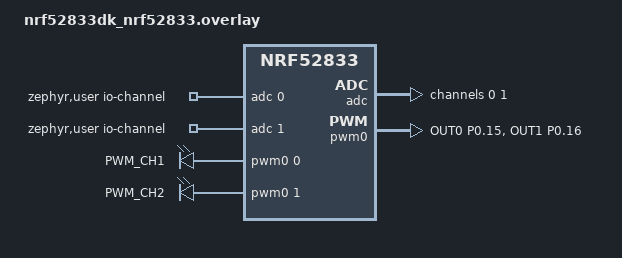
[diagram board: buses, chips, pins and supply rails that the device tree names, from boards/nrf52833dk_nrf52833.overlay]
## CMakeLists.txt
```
# SPDX-License-Identifier: Apache-2.0

cmake_minimum_required(VERSION 3.20.0)
find_package(Zephyr REQUIRED HINTS $ENV{ZEPHYR_BASE})
project(zephyr-adc-pwm-lab)

# make sure to add the source code for new libraries
target_sources(app PRIVATE src/main.c src/calc_cycles.c)
```

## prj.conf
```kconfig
CONFIG_LOG=y
CONFIG_ADC=y
CONFIG_PWM=y
CONFIG_SMF=y
CONFIG_EVENTS=y
CONFIG_LOG_MODE_DEFERRED=y
CONFIG_MAIN_STACK_SIZE=4096
CONFIG_LOG_BUFFER_SIZE=2048
```

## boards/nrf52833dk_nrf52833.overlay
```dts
/ {
    zephyr,user {
        io-channels = <&adc 0>, <&adc 1>;
    };
    aliases {
        sw0 = &button0;
        sw1 = &button1;
        sw2 = &button2;
        led0 = &led0;
        led1 = &led1;
        vadc = &vadc;
        vadc-diff = &vadc_diff;
        pwm1 = &pwmch1;
        pwm2 = &pwmch2;
    };
    pwm {
        compatible = "pwm-leds";
        pwmch1: pwm_1 {
            pwms = < &pwm0 0 PWM_MSEC(1) PWM_POLARITY_NORMAL>;  // 0 - channel
            label = "PWM_CH1";
        };
        pwmch2: pwm_2 {
            pwms = < &pwm0 1 PWM_MSEC(1) PWM_POLARITY_NORMAL>; // 1 - channel
            label = "PWM_CH2";
        };
    };
};

&adc {
    #address-cells = <1>;
    #size-cells = <0>;
    vadc: channel@0 {
        reg = <0>;
        zephyr,reference = "ADC_REF_INTERNAL";
        zephyr,gain = "ADC_GAIN_1_5";
        zephyr,acquisition-time = <ADC_ACQ_TIME_DEFAULT>;
        zephyr,input-positive = <NRF_SAADC_AIN0>;
        zephyr,resolution = <12>;
    };
    vadc_diff: channel@1 {
        reg = <1>;
        zephyr,reference = "ADC_REF_INTERNAL";
        zephyr,gain = "ADC_GAIN_1_5";
        zephyr,acquisition-time = <ADC_ACQ_TIME(ADC_ACQ_TIME_MICROSECONDS, 40)>;
        zephyr,input-positive = <NRF_SAADC_AIN1>;
        zephyr,input-negative = <NRF_SAADC_AIN2>;
        zephyr,resolution = <12>;
    };
    status = "okay";
};

&pwm0 {
    compatible = "nordic,nrf-pwm";
    reg = <0x4001c000 0x1000>;
    interrupts = <28 NRF_DEFAULT_IRQ_PRIORITY>;
    status = "okay";
    #pwm-cells = <3>;
    pinctrl-0 = <&pwm0_default>;
    pinctrl-1 = <&pwm0_sleep>;
    pinctrl-names = "default", "sleep";
};

&pinctrl {
    compatible = "nordic,nrf-pinctrl";
    status = "okay";
    pwm0_default: pwm0_default {
        group1 {
            psels = <NRF_PSEL(PWM_OUT0, 0, 15)>,
                    <NRF_PSEL(PWM_OUT1, 0, 16)>;
            nordic,invert;
        };
    };
    pwm0_sleep: pwm0_sleep {
        group1 {
            psels = <NRF_PSEL(PWM_OUT0, 0, 15)>,
                    <NRF_PSEL(PWM_OUT1, 0, 16)>;
            low-power-enable;
        };
    };
};
```

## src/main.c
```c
#include <zephyr/kernel.h>
#include <zephyr/device.h>
#include <zephyr/devicetree.h>
#include <zephyr/drivers/gpio.h>
#include <zephyr/logging/log.h>
#include <zephyr/drivers/adc.h>
#include <zephyr/drivers/pwm.h>
#include <zephyr/smf.h>

#include "calc_cycles.h"

LOG_MODULE_REGISTER(main, LOG_LEVEL_INF);

// Constants
#define HEARTBEAT_PERIOD_MS 1000
#define HEARTBEAT_DUTY_CYCLE 25
#define HEARTBEAT_ON_TIME (HEARTBEAT_PERIOD_MS * HEARTBEAT_DUTY_CYCLE / 100)
#define HEARTBEAT_OFF_TIME (HEARTBEAT_PERIOD_MS - HEARTBEAT_ON_TIME)
#define LED_BLINK_DURATION_MS 5000
#define LED_DUTY_CYCLE 10
#define SAMPLING_DURATION_US 2000000
#define INTERVAL_US 5000
#define DIFF_SAMPLES (SAMPLING_DURATION_US / INTERVAL_US)

// GPIO PWM ADC Specifications
static const struct gpio_dt_spec led0_spec = GPIO_DT_SPEC_GET(DT_ALIAS(led0), gpios);
static const struct gpio_dt_spec led1_spec = GPIO_DT_SPEC_GET(DT_ALIAS(led1), gpios);
static const struct gpio_dt_spec button0_spec = GPIO_DT_SPEC_GET(DT_ALIAS(sw0), gpios);
static const struct gpio_dt_spec button1_spec = GPIO_DT_SPEC_GET(DT_ALIAS(sw1), gpios);
static const struct gpio_dt_spec button2_spec = GPIO_DT_SPEC_GET(DT_ALIAS(sw2), gpios);
static const struct pwm_dt_spec led2_pwm_spec = PWM_DT_SPEC_GET(DT_ALIAS(pwm1));
static const struct pwm_dt_spec led3_pwm_spec = PWM_DT_SPEC_GET(DT_ALIAS(pwm2));
static struct gpio_callback button0_cb;
static struct gpio_callback button1_cb;
static struct gpio_callback button2_cb;

static const struct adc_dt_spec adc_vadc_spec = ADC_DT_SPEC_GET_BY_IDX(DT_PATH(zephyr_user), 0);
static const struct adc_dt_spec adc_vadc_diff_spec = ADC_DT_SPEC_GET_BY_IDX(DT_PATH(zephyr_user), 1);

// Function Prototypes
void heartbeat_thread(void *a, void *b, void *c);
void blink_handler(struct k_timer *timer);
void init_run(void *o);
void idle_run(void *o);
void adc_read_run(void *o);
void diff_adc_read_run(void *o);
void diff_process_run(void *o);
void blinking_entry(void *o);
void blinking_run(void *o);
void sinusoidal_modulation_run(void *o);
void button0_callback(const struct device *dev, struct gpio_callback *cb, uint32_t pins);
void button1_callback(const struct device *dev, struct gpio_callback *cb, uint32_t pins);
void button2_callback(const struct device *dev, struct gpio_callback *cb, uint32_t pins);
void blink_duration_handler(struct k_timer *timer);
void led_on_handler(struct k_timer *timer);
void led_off_handler(struct k_timer *timer);

// System Context
struct system_context {
    struct smf_ctx ctx;
    bool button0_pressed;
    bool button1_pressed;
    bool modulation_active;
    int32_t adc_voltage_mv;
    uint32_t led1_blink_period_ms;
    int16_t diff_buffer[DIFF_SAMPLES];
    int32_t diff_cycles;
} system_context;

// State Machine
enum state { INIT, IDLE, ADC_READ, DIFF_ADC_READ, DIFF_PROCESS, BLINKING, SINUSOIDAL_MODULATION };
static const struct smf_state states[] = {
    [INIT] = SMF_CREATE_STATE(NULL, init_run, NULL, NULL, NULL),
    [IDLE] = SMF_CREATE_STATE(NULL, idle_run, NULL, NULL, NULL),
    [ADC_READ] = SMF_CREATE_STATE(NULL, adc_read_run, NULL, NULL, NULL),
    [DIFF_ADC_READ] = SMF_CREATE_STATE(NULL, diff_adc_read_run, NULL, NULL, NULL),
    [DIFF_PROCESS] = SMF_CREATE_STATE(NULL, diff_process_run, NULL, NULL, NULL),
    [BLINKING] = SMF_CREATE_STATE(blinking_entry, blinking_run, NULL, NULL, NULL),
    [SINUSOIDAL_MODULATION] = SMF_CREATE_STATE(NULL, sinusoidal_modulation_run, NULL, NULL, NULL),
};

// Helper Functions
static void configure_gpio(const struct gpio_dt_spec *spec, gpio_flags_t flags) {
    if (!device_is_ready(spec->port)) {
        LOG_ERR("GPIO device not ready: %s", spec->port->name);
        return;
    }
    gpio_pin_configure_dt(spec, flags);
    LOG_INF("Configured GPIO: %s, pin: %d", spec->port->name, spec->pin);
}

static void configure_adc(const struct adc_dt_spec *spec) {
    if (!device_is_ready(spec->dev)) {
        LOG_ERR("ADC device not ready");
        return;
    }
    int err = adc_channel_setup_dt(spec);
    if (err < 0) {
        LOG_ERR("Failed to setup ADC channel: %d", err);
    } else {
        LOG_INF("ADC channel configured successfully");
    }
}

// Heartbeat Thread
K_THREAD_DEFINE(heartbeat_id, 1024, heartbeat_thread, NULL, NULL, NULL, 5, 0, 0);
void heartbeat_thread(void *a, void *b, void *c) {
    while (1) {
        gpio_pin_set_dt(&led0_spec, 1);
        k_msleep(HEARTBEAT_ON_TIME);
        gpio_pin_set_dt(&led0_spec, 0);
        k_msleep(HEARTBEAT_OFF_TIME);
    }
}

// Timers
K_TIMER_DEFINE(blink_timer, blink_handler, NULL);
K_TIMER_DEFINE(blink_duration_timer, blink_duration_handler, NULL);
K_TIMER_DEFINE(led_on_timer, led_on_handler, NULL);
K_TIMER_DEFINE(led_off_timer, led_off_handler, NULL);

// Main Function
void main(void) {
    LOG_INF("System initialization started");
    smf_set_initial(SMF_CTX(&system_context), &states[INIT]);
    while (1) {
        smf_run_state(SMF_CTX(&system_context));
        k_msleep(1);
    }
}

// Callback Functions
void button0_callback(const struct device *dev, struct gpio_callback *cb, uint32_t pins) {
    if (system_context.button0_pressed) {
        LOG_INF("Button0 press ignored, already being processed");
        return;
    }
    LOG_INF("Button0 pressed, transitioning to ADC_READ state");
    system_context.button0_pressed = true;
    smf_set_state(SMF_CTX(&system_context), &states[ADC_READ]);
}

void button1_callback(const struct device *dev, struct gpio_callback *cb, uint32_t pins) {
    if (system_context.button1_pressed) {
        LOG_INF("Button1 press ignored, already being processed");
        return;
    }
    LOG_INF("Button1 pressed, transitioning to DIFF_ADC_READ state");
    system_context.button1_pressed = true;
    smf_set_state(SMF_CTX(&system_context), &states[DIFF_ADC_READ]);
}

void button2_callback(const struct device *dev, struct gpio_callback *cb, uint32_t pins) {
    if (system_context.modulation_active) {
        LOG_INF("Button2 pressed, stopping sinusoidal modulation");
        system_context.modulation_active = false;
    } else {
        LOG_INF("Button2 pressed, starting sinusoidal modulation");
        system_context.modulation_active = true;
        smf_set_state(SMF_CTX(&system_context), &states[SINUSOIDAL_MODULATION]);
    }
}

// Timer Functions
void blink_handler(struct k_timer *timer) {
    static bool led_state = false;
    led_state = !led_state;
    gpio_pin_set_dt(&led1_spec, led_state);
    LOG_INF("LED1 state toggled: %s", led_state ? "ON" : "OFF");
}

void blink_duration_handler(struct k_timer *timer) {
    LOG_INF("Blink duration timer expired, stopping LED blinking");
    gpio_pin_set_dt(&led1_spec, 0);
    k_timer_stop(&led_on_timer);
    k_timer_stop(&led_off_timer);
    system_context.button0_pressed = false;
    smf_set_state(SMF_CTX(&system_context), &states[IDLE]);
}

void led_on_handler(struct k_timer *timer) {
    gpio_pin_set_dt(&led1_spec, 1);
    LOG_INF("LED1 turned ON");
    uint32_t off_delay = system_context.led1_blink_period_ms * LED_DUTY_CYCLE / 100;
    k_timer_start(&led_off_timer, K_MSEC(off_delay), K_NO_WAIT);
}

void led_off_handler(struct k_timer *timer) {
    gpio_pin_set_dt(&led1_spec, 0);
    LOG_INF("LED1 turned OFF");
}

// State Functions
void init_run(void *o) {
    LOG_INF("Entering INIT state");
    configure_gpio(&button0_spec, GPIO_INPUT);
    configure_gpio(&button1_spec, GPIO_INPUT);
    configure_gpio(&button2_spec, GPIO_INPUT);
    configure_gpio(&led0_spec, GPIO_OUTPUT);
    configure_gpio(&led1_spec, GPIO_OUTPUT);

    gpio_pin_set_dt(&led1_spec, 0);

    int err = gpio_pin_interrupt_configure_dt(&button0_spec, GPIO_INT_EDGE_TO_ACTIVE);
    if (err < 0) {
        LOG_ERR("Failed to configure button0 interrupt: %d", err);
    } else {
        LOG_INF("Button0 interrupt configured successfully");
    }
    gpio_init_callback(&button0_cb, button0_callback, BIT(button0_spec.pin));
    gpio_add_callback_dt(&button0_spec, &button0_cb);

    err = gpio_pin_interrupt_configure_dt(&button1_spec, GPIO_INT_EDGE_TO_ACTIVE);
    if (err < 0) {
        LOG_ERR("Failed to configure button1 interrupt: %d", err);
    } else {
        LOG_INF("Button1 interrupt configured successfully");
    }
    gpio_init_callback(&button1_cb, button1_callback, BIT(button1_spec.pin));
    gpio_add_callback_dt(&button1_spec, &button1_cb);

    err = gpio_pin_interrupt_configure_dt(&button2_spec, GPIO_INT_EDGE_TO_ACTIVE);
    if (err < 0) {
        LOG_ERR("Failed to configure button2 interrupt: %d", err);
    } else {
        LOG_INF("Button2 interrupt configured successfully");
    }
    gpio_init_callback(&button2_cb, button2_callback, BIT(button2_spec.pin));
    gpio_add_callback_dt(&button2_spec, &button2_cb);

    configure_adc(&adc_vadc_spec);
    configure_adc(&adc_vadc_diff_spec);
    LOG_INF("ADC configured successfully");

    LOG_INF("Exiting INIT state, transitioning to IDLE state");
    smf_set_state(SMF_CTX(&system_context), &states[IDLE]);
}

void idle_run(void *o) {
    // LOG_INF("System is in IDLE state");
}

void adc_read_run(void *o) {
    LOG_INF("Entering ADC_READ state");

    int16_t buf;
    struct adc_sequence sequence = {
        .buffer = &buf,
        .buffer_size = sizeof(buf),
    };

    adc_sequence_init_dt(&adc_vadc_spec, &sequence);

    int ret = adc_read(adc_vadc_spec.dev, &sequence);
    if (ret < 0) {
        LOG_ERR("ADC read failed: %d", ret);
        return;
    }

    system_context.adc_voltage_mv = buf;
    adc_raw_to_millivolts_dt(&adc_vadc_spec, &system_context.adc_voltage_mv);
    LOG_INF("ADC Value (mV): %d", system_context.adc_voltage_mv);

    uint32_t duty_cycle = CLAMP((system_context.adc_voltage_mv * 100) / 3000, 0, 100);
    LOG_INF("Mapped PWM duty cycle: %d%%", duty_cycle);

    ret = pwm_set_dt(&led2_pwm_spec, PWM_USEC(1000), PWM_USEC(1000 - (duty_cycle * 10)));
    if (ret < 0) {
        LOG_ERR("Failed to set PWM duty cycle: %d", ret);
    } else {
        LOG_INF("PWM duty cycle set successfully");
    }

    system_context.led1_blink_period_ms = 1000 - (system_context.adc_voltage_mv * 800 / 3000);
    LOG_INF("Calculated LED1 blink period: %d ms", system_context.led1_blink_period_ms);

    LOG_INF("Exiting ADC_READ state, transitioning to BLINKING state");
    smf_set_state(SMF_CTX(&system_context), &states[BLINKING]);
}

void diff_adc_read_run(void *o) {
    LOG_INF("Entering DIFF_ADC_READ state");
    gpio_pin_interrupt_configure_dt(&button1_spec, GPIO_INT_DISABLE);

    struct adc_sequence_options options = {
        .extra_samplings = DIFF_SAMPLES - 1,
        .interval_us = INTERVAL_US,
    };
    struct adc_sequence sequence = {
        .options = &options,
        .buffer = system_context.diff_buffer,
        .buffer_size = sizeof(system_context.diff_buffer),
    };
    adc_sequence_init_dt(&adc_vadc_diff_spec, &sequence);

    int ret = adc_read(adc_vadc_diff_spec.dev, &sequence);
    if (ret < 0) {
        LOG_ERR("Differential ADC read failed: %d", ret);
    } else {
        LOG_INF("Differential ADC sampling complete, %d samples", DIFF_SAMPLES);
    }

    gpio_pin_interrupt_configure_dt(&button1_spec, GPIO_INT_EDGE_TO_ACTIVE);
    smf_set_state(SMF_CTX(&system_context), &states[DIFF_PROCESS]);
}

void diff_process_run(void *o) {
    LOG_INF("Entering DIFF_PROCESS state");
    LOG_HEXDUMP_INF(system_context.diff_buffer, sizeof(system_context.diff_buffer), "Raw ADC Buffer:");

    system_context.diff_cycles = calculate_cycles(system_context.diff_buffer, DIFF_SAMPLES);
    LOG_INF("Calculated cycles: %d", system_context.diff_cycles);

    system_context.button1_pressed = false;
    smf_set_state(SMF_CTX(&system_context), &states[IDLE]);
}

void blinking_entry(void *o) {
    LOG_INF("Entering BLINKING state");
    uint32_t blink_period = system_context.led1_blink_period_ms;
    uint32_t on_time = blink_period * LED_DUTY_CYCLE / 100;

    k_timer_start(&blink_duration_timer, K_MSEC(LED_BLINK_DURATION_MS), K_NO_WAIT);
    k_timer_start(&led_on_timer, K_NO_WAIT, K_MSEC(blink_period));

    LOG_INF("Blinking started: period = %d ms, on-time = %d ms, duration = %d ms",
            blink_period, on_time, LED_BLINK_DURATION_MS);
}

void blinking_run(void *o) {
    // LOG_INF("System is in BLINKING state");
}

void sinusoidal_modulation_run(void *o) {
    LOG_INF("Entering SINUSOIDAL_MODULATION state");

    static int16_t adc_value;
    struct adc_sequence sequence = {
        .buffer = &adc_value,
        .buffer_size = sizeof(adc_value),
    };

    adc_sequence_init_dt(&adc_vadc_diff_spec, &sequence);

    while (system_context.modulation_active) {
        int ret = adc_read(adc_vadc_diff_spec.dev, &sequence);
        if (ret < 0) {
            LOG_ERR("ADC read failed: %d", ret);
            break;
        }

        int32_t voltage_mv = adc_value;
        adc_raw_to_millivolts_dt(&adc_vadc_diff_spec, &voltage_mv);

        uint32_t duty_cycle = CLAMP((voltage_mv * 100) / 3000, 0, 100);
        LOG_INF("Mapped PWM duty cycle for LED3: %d%%", duty_cycle);

        ret = pwm_set_dt(&led3_pwm_spec, PWM_USEC(1000), PWM_USEC(1000 - (duty_cycle * 10)));
        if (ret < 0) {
            LOG_ERR("Failed to set PWM duty cycle for LED3: %d", ret);
        }

        k_msleep(5);
    }

    LOG_INF("Exiting SINUSOIDAL_MODULATION state");
    smf_set_state(SMF_CTX(&system_context), &states[IDLE]);
}
```

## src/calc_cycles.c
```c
#include "calc_cycles.h"

int32_t calculate_cycles(int16_t *buffer, uint32_t length) {
    int32_t crossings = 0;
    if (length < 2) {
        return 0;
    }
    for (uint32_t i = 1; i < length; i++) {
        if ((buffer[i-1] < 0 && buffer[i] >= 0) || (buffer[i-1] > 0 && buffer[i] <= 0)) {
            crossings++;
        }
    }
    return (crossings + 1) / 2; // Half-crossings to full cycles
}
```

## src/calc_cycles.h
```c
#ifndef CALC_CYCLES_H
#define CALC_CYCLES_H

#include <stdint.h>

int32_t calculate_cycles(int16_t *buffer, uint32_t length);

#endif
```

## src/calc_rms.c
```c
#include "calc_rms.h"

// Function to calculate the RMS value of a signal
```

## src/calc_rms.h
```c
#ifndef CALC_RMS_H
#define CALC_RMS_H

// Function prototype goes here

#endif
```
